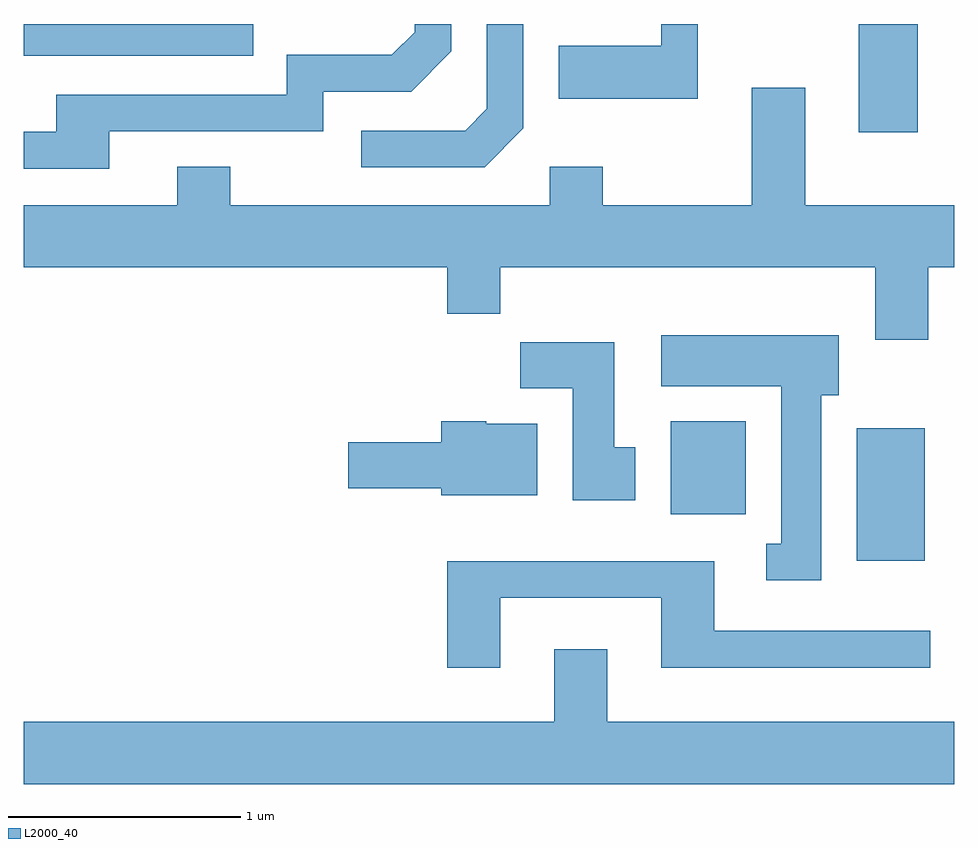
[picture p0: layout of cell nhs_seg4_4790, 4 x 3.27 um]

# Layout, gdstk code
import gdstk
lib = gdstk.Library(unit=1e-6, precision=1e-09)
def R(c, l, rs):  # rectangles x0, y0, x1, y1
    for r in rs: c.add(gdstk.rectangle(r[:2], r[2:], *l))
def P(c, l, *ps):  # polygons
    for p in ps: c.add(gdstk.Polygon(p, *l))
L2000_40 = (2000, 40)

nhs_seg4_4790 = lib.new_cell('nhs_seg4_4790')
R(nhs_seg4_4790, L2000_40, [(329.191,1315.676,329.484,1316.244), (328.391,1315.876,328.714,1316.274), (329.201,1317.516,329.454,1317.982), (325.611,1317.846,326.598,1317.982)])
P(nhs_seg4_4790, L2000_40, [(327.759,1317.534),(327.759,1317.982),(327.601,1317.982),(327.601,1317.617),(327.509,1317.524),(327.063,1317.524),(327.063,1317.366),(327.592,1317.366)],
  [(328.509,1317.982),(328.351,1317.982),(328.351,1317.889),(327.911,1317.889),(327.911,1317.661),(328.509,1317.661)],
  [(325.979,1317.521),(326.899,1317.521),(326.899,1317.691),(327.277,1317.691),(327.449,1317.864),(327.449,1317.982),(327.291,1317.982),(327.291,1317.947),(327.194,1317.849),(326.741,1317.849),(326.741,1317.679),(325.751,1317.679),(325.751,1317.519),(325.611,1317.519),(325.611,1317.361),(325.979,1317.361)],
  [(329.499,1316.936),(329.611,1316.936),(329.611,1317.204),(328.969,1317.204),(328.969,1317.709),(328.741,1317.709),(328.741,1317.204),(328.099,1317.204),(328.099,1317.369),(327.871,1317.369),(327.871,1317.204),(326.499,1317.204),(326.499,1317.369),(326.271,1317.369),(326.271,1317.204),(325.611,1317.204),(325.611,1316.936),(327.431,1316.936),(327.431,1316.736),(327.659,1316.736),(327.659,1316.936),(329.271,1316.936),(329.271,1316.626),(329.499,1316.626)],
  [(329.039,1316.386),(329.114,1316.386),(329.114,1316.644),(328.351,1316.644),(328.351,1316.426),(328.866,1316.426),(328.866,1315.749),(328.803,1315.749),(328.803,1315.591),(329.039,1315.591)],
  [(328.239,1316.164),(328.149,1316.164),(328.149,1316.614),(327.746,1316.614),(327.746,1316.416),(327.971,1316.416),(327.971,1315.936),(328.239,1315.936)],
  [(327.819,1316.264),(327.6,1316.264),(327.6,1316.274),(327.406,1316.274),(327.406,1316.184),(327.006,1316.184),(327.006,1315.986),(327.406,1315.986),(327.406,1315.956),(327.819,1315.956)],
  [(327.659,1315.516),(328.351,1315.516),(328.351,1315.216),(329.508,1315.216),(329.508,1315.374),(328.579,1315.374),(328.579,1315.674),(327.431,1315.674),(327.431,1315.216),(327.659,1315.216)],
  [(329.611,1314.984),(328.119,1314.984),(328.119,1315.294),(327.891,1315.294),(327.891,1314.984),(325.611,1314.984),(325.611,1314.716),(329.611,1314.716)])

lib.write_gds('nhs_seg4_4790.gds')
